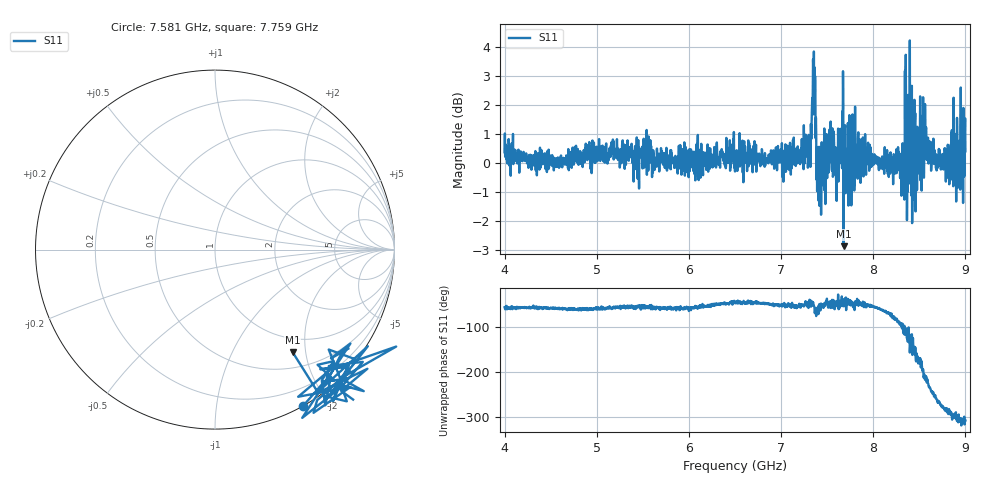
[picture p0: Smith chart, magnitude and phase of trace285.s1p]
! Created with skrf 1.8.0 (http://scikit-rf.org).
# Hz S RI R 50.0
!freq ReS11 ImS11
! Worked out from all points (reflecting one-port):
!   1601 points, 4 GHz to 9 GHz, reference 50 ohm
!   lowest |S11| = -2.9 dB at 7.678 GHz (marker M1), VSWR 6.09, Z = 37.3 - j88.2 ohm
!   phase of S11 starts at -56 deg and turns -250 deg over the sweep
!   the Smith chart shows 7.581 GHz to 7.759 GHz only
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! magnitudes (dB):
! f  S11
! 4 GHz  0.4
! 4.625 GHz  -0.2
! 5.25 GHz  -0.2
! 5.875 GHz  0.1
! 6.5 GHz  -0.3
! 7.125 GHz  0.1
! 7.294 GHz  0.1
! 7.316 GHz  0.3
! 7.347 GHz  3.6
! 7.362 GHz  3.3
! 7.409 GHz  -1.3
! 7.516 GHz  -0.3
! 7.6 GHz  -0.8
! 7.65 GHz  1.0
! 7.678 GHz  -2.9
! 7.703 GHz  -0.7
! 7.75 GHz  -1.0
! 7.928 GHz  0.1
! 8.316 GHz  -0.1
! 8.334 GHz  0.2
! 8.375 GHz  -1.0
! 8.391 GHz  1.8
! 8.422 GHz  -2.1
! 8.447 GHz  2.2
! 8.553 GHz  0.2
! 8.681 GHz  -0.2
! 8.812 GHz  0.5
! 9 GHz  0.4
